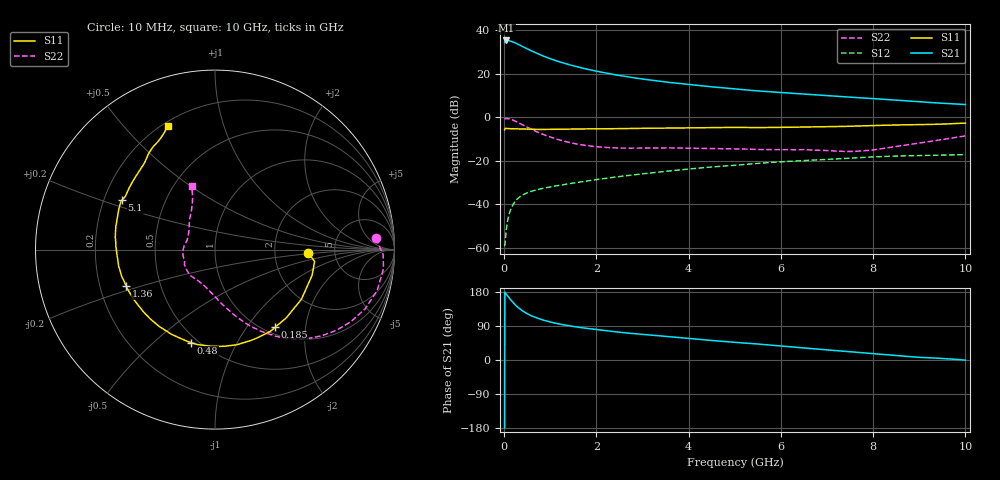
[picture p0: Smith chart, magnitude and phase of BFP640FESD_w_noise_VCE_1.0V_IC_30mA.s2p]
! Infineon Technologies  Discrete & RF Semiconductors
! BFP640FESD
! VCE =  1.0 V,  IC =  30 mA
! Common Emitter S-Parameters:  Jan 2016
# GHz  S  MA  R  50
!  f  S11  S21  S12  S22
! GHz  MAG  ANG  MAG  ANG  MAG  ANG  MAG  ANG
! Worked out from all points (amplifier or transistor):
!   233 points, 10 MHz to 10 GHz, reference 50 ohm
!   highest |S21| = 35.3 dB at 50 MHz (marker M1)
!   |S21| within 3 dB of that: start of sweep to 421.2 MHz
!   unconditionally stable (mu >= 1): start of sweep to 12.45 MHz; 2.569 GHz to end of sweep
!   at 200 MHz: K = 0.19, MSG = 37.2 dB, |S12| = -39.8 dB
!   at 1.74 GHz: K = 0.88, MSG = 25.9 dB, |S12| = -29.4 dB
!   at 10 GHz: K = 1.11, MAG = 9.5 dB, |S12| = -17.1 dB
!   lowest NFmin = 1.07 dB at 450 MHz
!   S11 on the Smith chart (normalised r, x): 10 MHz: 3.16, -0.17; 185 MHz: 1.11, -1.38; 480 MHz: 0.46, -0.67; 1.36 GHz: 0.31, -0.18; 5.1 GHz: 0.28, +0.23; 10 GHz: 0.22, +0.67
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0.01  0.5202 -2.1  52.61 -179.2  0.0011 101.6  0.8981 4.0
0.02  0.559 -6.8  57.88 177.7  0.0013 83.1  0.9373 -1.7
0.05  0.5595 -14.8  58.31 173.0  0.0028 79.4  0.9446 -6.5
0.1  0.5554 -29.8  58.08 165.1  0.0056 77.2  0.932 -14.2
0.15  0.5497 -43.7  55.7 157.4  0.0081 73.0  0.8988 -21.6
0.185  0.5474 -52.2  54.09 152.7  0.0096 69.6  0.8681 -26.0
0.24  0.5452 -64.5  51.23 145.5  0.0118 65.6  0.8195 -32.6
0.3  0.544 -77.1  47.74 138.7  0.0138 61.9  0.7637 -39.0
0.4  0.5384 -93.4  42.43 129.5  0.0165 57.0  0.6719 -47.8
0.48  0.5348 -104.3  38.34 123.6  0.0181 54.5  0.6075 -53.4
0.6  0.5305 -117.1  33.32 116.0  0.0202 51.8  0.5244 -60.4
0.7  0.529 -126.0  29.75 111.2  0.0216 50.7  0.4691 -65.3
0.8  0.5284 -133.0  26.75 107.0  0.0229 50.2  0.4229 -69.3
1.04  0.5292 -145.9  21.47 99.1  0.0257 50.1  0.3415 -77.8
1.36  0.5351 -157.7  16.75 91.3  0.0293 51.1  0.2731 -88.0
1.68  0.5409 -165.9  13.66 85.3  0.0332 52.3  0.234 -97.1
2.4  0.5482 -178.8  9.537 74.6  0.0424 54.0  0.1985 -115.7
3.4  0.5652 168.2  6.682 63.4  0.0561 53.7  0.1989 -133.7
5.1  0.5869 152.1  4.388 45.7  0.0808 48.6  0.1883 -154.7
6.8  0.6053 135.3  3.256 28.7  0.1056 39.6  0.1753 177.1
8.4  0.6647 121.9  2.522 12.5  0.1282 30.0  0.2069 133.8
10  0.7387 110.7  1.97 -0.3  0.139 20.0  0.3751 110.1
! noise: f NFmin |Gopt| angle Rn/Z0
0.45  1.07  0.19  -172  0.08
2.4  1.09  0.24  -171  0.1
5.5  1.31  0.29  -157  0.1
10  1.83  0.45  -105  0.31
